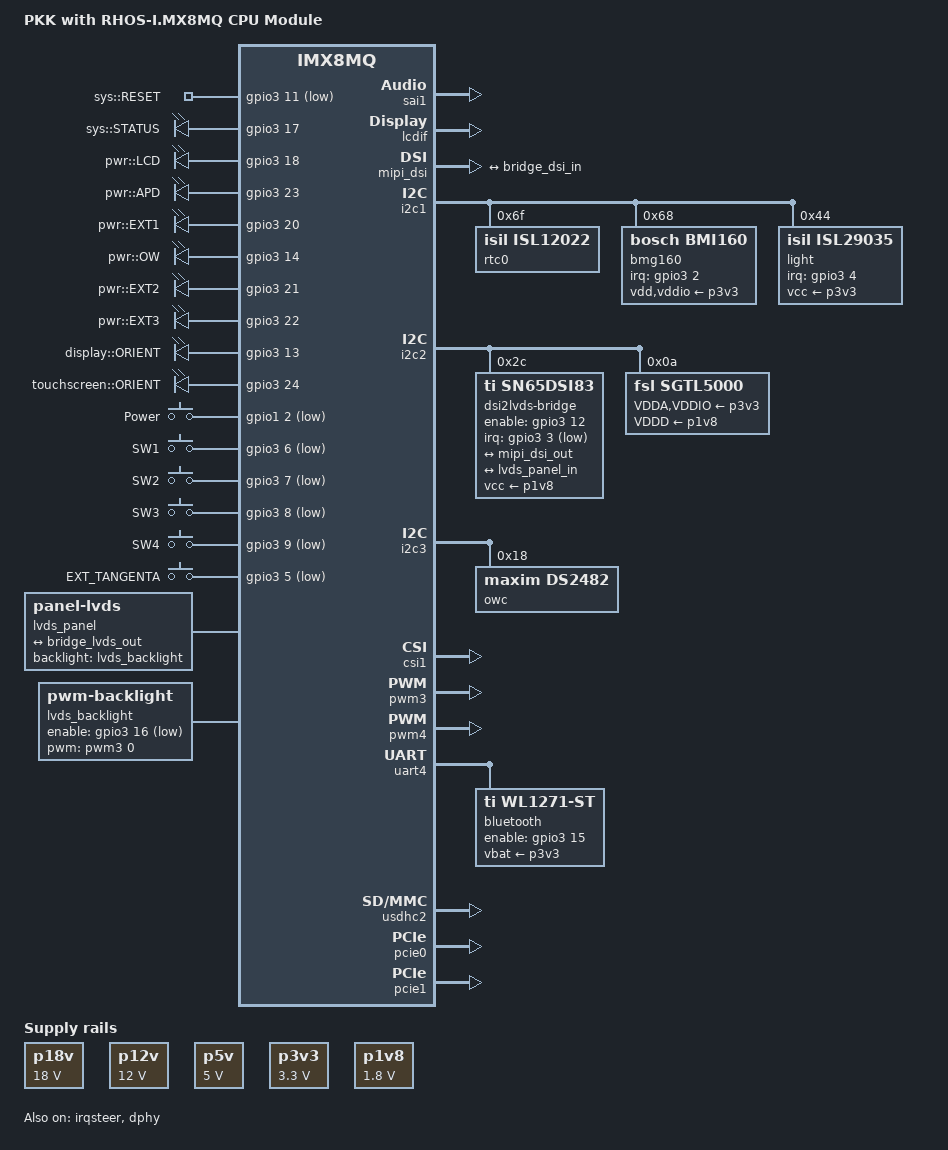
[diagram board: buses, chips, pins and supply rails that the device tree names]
// SPDX-License-Identifier: (GPL-2.0 OR MIT)
/*
 * Copyright (C) 2022 Radioavionica Corp., Alex A. Mihaylov <minimumlaw@rambler.ru>
 */

/dts-v1/;

#include "imx8mq-rhos.dtsi"

/ {
	model = "PKK with RHOS-I.MX8MQ CPU Module";
	compatible = "ravion,pkk", "ravion,imx8mq-rhos", "fsl,imx8mq";

	chosen {
		stdout-path = "serial0:115200n8";
	};

	p18v: regulator-p18v {
		compatible = "regulator-fixed";
		regulator-name = "p18v";
		regulator-min-microvolt = <18000000>;
		regulator-max-microvolt = <18000000>;
		regulator-always-on;
	};

	p12v: regulator-p12v {
		compatible = "regulator-fixed";
		regulator-name = "p12v";
		regulator-min-microvolt = <12000000>;
		regulator-max-microvolt = <12000000>;
		regulator-always-on;
	};

	p5v: regulator-p5v {
		compatible = "regulator-fixed";
		regulator-name = "p5v";
		regulator-min-microvolt = <5000000>;
		regulator-max-microvolt = <5000000>;
		regulator-always-on;
	};

	p3v3: regulator-p3v3 {
		compatible = "regulator-fixed";
		regulator-name = "p3v3";
		regulator-min-microvolt = <3300000>;
		regulator-max-microvolt = <3300000>;
		regulator-always-on;
	};

	p1v8: regulator-p1v8 {
		compatible = "regulator-fixed";
		regulator-name = "p1v8";
		regulator-min-microvolt = <1800000>;
		regulator-max-microvolt = <1800000>;
		regulator-always-on;
	};

	gpio-leds {
		compatible = "gpio-leds";

		sys_rst {
			label = "sys::RESET";
			gpios = <&gpio3 11 GPIO_ACTIVE_LOW>;	/* soDimm165 */
			default-state = "off";
		};

		status {
			label = "sys::STATUS";
			gpios = <&gpio3 17 GPIO_ACTIVE_HIGH>;	/* soDimm164 */
			default-state = "on";
		};

		pwr_lcd {
			label = "pwr::LCD";
			gpios = <&gpio3 18 GPIO_ACTIVE_HIGH>;	/* soDimm166 */
			default-state = "on";
		};

		pwr_apd {
			label = "pwr::APD";
			gpios = <&gpio3 23 GPIO_ACTIVE_HIGH>;	/* soDimm168 */
			default-state = "on";
		};

		pwr_ext1 {
			label = "pwr::EXT1";
			gpios = <&gpio3 20 GPIO_ACTIVE_HIGH>;	/* soDimm170 */
			default-state = "on";
		};

		pwr_ow {
			label = "pwr::OW";
			gpios = <&gpio3 14 GPIO_ACTIVE_HIGH>;	/* soDimm171 */
			default-state = "on";
		};

		pwr_ext2 {
			label = "pwr::EXT2";
			gpios = <&gpio3 21 GPIO_ACTIVE_HIGH>;	/* soDimm172 */
			default-state = "on";
		};

		pwr_ext3 {
			label = "pwr::EXT3";
			gpios = <&gpio3 22 GPIO_ACTIVE_HIGH>;	/* soDimm174 */
			default-state = "on";
		};

		disp_orient {
			label = "display::ORIENT";
			gpios = <&gpio3 13 GPIO_ACTIVE_HIGH>;	/* soDimm169 */
			default-state = "on";
		};

		ts_orient {
			label = "touchscreen::ORIENT";
			gpios = <&gpio3 24 GPIO_ACTIVE_HIGH>;	/* soDimm177 */
			default-state = "on";
		};
	};

	gpio-keys {
		compatible = "gpio-keys";

		power-key {
			label = "Power";
			gpios = <&gpio1 2 GPIO_ACTIVE_LOW>;	/* soDImm139 */
			linux,code = <KEY_POWER>;
			debounce-interval = <50>;
			wakeup-source;
		};

		sw1-key {
			label = "SW1";
			gpios = <&gpio3 6 GPIO_ACTIVE_LOW>;	/* soDimm154 */
			linux,code = <KEY_F1>;
			debounce-interval = <25>;
			wakeup-source;
		};

		sw2-key {
			label = "SW2";
			gpios = <&gpio3 7 GPIO_ACTIVE_LOW>;	/* soDimm156 */
			linux,code = <KEY_F2>;
			debounce-interval = <25>;
			wakeup-source;
		};

		sw3-key {
			label = "SW3";
			gpios = <&gpio3 8 GPIO_ACTIVE_LOW>;	/* soDimm158 */
			linux,code = <KEY_F3>;
			debounce-interval = <25>;
			wakeup-source;
		};

		sw4-key {
			label = "SW4";
			gpios = <&gpio3 9 GPIO_ACTIVE_LOW>;	/* soDimm160 */
			linux,code = <KEY_F4>;
			debounce-interval = <25>;
			wakeup-source;
		};

		ext-tng-key {
			label = "EXT_TANGENTA";
			gpios = <&gpio3 5 GPIO_ACTIVE_LOW>;	/* soDimm152 */
			linux,code = <KEY_F5>;
			debounce-interval = <25>;
			wakeup-source;
		};
	};


	/* Mitsubishi AA070TA01ADA11 LVDS display panel
	 *********************************************/
	lvds_panel {
		compatible = "panel-lvds";
		backlight = <&lvds_backlight>;
		data-mapping = "jeida-24";

		width-mm = <152>;
		height-mm = <91>;

		/*
		 * FixMe: DENA active high, h(f+b+l)=32, v(f+b+l)=30 @ 62.8MHz by spec,
		 *        but NOT work in out module! Fix polarity and recalculate.
		 */
		panel-timing {
			clock-frequency = <67200000>;
			hactive = <1280>;
			vactive = <768>;
			hsync-len = <40>;
			hfront-porch = <40>;
			hback-porch = <40>;
			vfront-porch = <11>;
			vback-porch = <10>;
			vsync-len = <10>;
			de-active = <0>;
		};

		port {
			lvds_panel_in: endpoint {
				remote-endpoint = <&bridge_lvds_out>;
			};
		};
	};

	lvds_backlight: backlight {
		compatible = "pwm-backlight";
		enable-gpios = <&gpio3 16 GPIO_ACTIVE_LOW>;	/* soDimm175 */
		pwms = <&pwm3 0 100000 0>; /* FixMe: frequency !!! */
		brightness-levels = <0 25 51 76 102 127 153 178 204 229 255>;
		default-brightness-level = <8>;
		status = "okay";
	};

	soundcard@0 {
		compatible = "simple-audio-card";
		simple-audio-card,name = "RHOS IMX8MQ SGTL5000";
		simple-audio-card,format = "i2s";
		simple-audio-card,bitclock-master = <&dailink0_master>;
		simple-audio-card,frame-master = <&dailink0_master>;


		simple-audio-card,cpu {
			sound-dai = <&sai1 0>;
		};

		dailink0_master:
		simple-audio-card,codec {
			sound-dai = <&sgtl5000 0>;
		};
	};

};

/* Serial audio interface
 ***********************/
&sai1	{
	status = "okay";
	/* default - any, I2S - 1-st tx/rx, PDM - disabled */
	fst,dataline = <0 0x0F 0x0F 0x01 0x01 0x01 0x02 0x00 0x00>;
	clocks = <&clk IMX8MQ_CLK_SAI1_IPG>,
		<&clk IMX8MQ_CLK_DUMMY>,	/* MCLK floated on SAI side  */
		<&clk IMX8MQ_CLK_DUMMY>,
		<&clk IMX8MQ_CLK_DUMMY>;
	clock-names = "bus", "mclk1", "mclk2", "mclk3";
};

&irqsteer {	status = "okay";	};

&lcdif {	status = "okay";	};

&mipi_dsi {
	status = "okay";
	ports {
		#address-cells = <1>;
		#size-cells = <0>;

		port@1 {
			reg = <1>;
			mipi_dsi_out: endpoint {
				remote-endpoint = <&bridge_dsi_in>;
				clock-lanes = <0>;
				data-lanes = <1 2 3 4>;
			};
		};
	};
};
&dphy {		status = "okay";	};

&i2c1 {
	status = "okay";
	#address-cells = <1>;	#size-cells = <0>;

	rtc0: rtc@6f { /* ISL12020: I2C Real Time Clock (battery backup) */
		compatible = "isil,isl12022";
		reg = <0x6f>;
	};

	bmg160@68 { /* FixMe: address 0x68 already in use by CPU module clock generator */
		compatible = "bosch,bmi160";
		reg = <0x68>;
		vdd-supply = <&p3v3>;
		vddio-supply = <&p3v3>;
		interrupt-parent = <&gpio3>;
		interrupts = <2 (IRQ_TYPE_EDGE_RISING)>;	/* soDimm146 */
		interrupt-names = "INT1";
	};

	light@44 {
		compatible = "isil,isl29035";
		vcc-supply = <&p3v3>;
		reg = <0x44>;
		interrupt-parent = <&gpio3>;
		interrupts = <4 (IRQ_TYPE_EDGE_RISING)>;	/* soDimm150 */
	};
};

&i2c2 {
	dsi2lvds-bridge@2c {
		compatible = "ti,sn65dsi83";
		reg = <0x2c>;
		enable-gpios = <&gpio3 12 GPIO_ACTIVE_HIGH>;	/* soDimm167 */
		irq-gpios = <&gpio3 3 GPIO_ACTIVE_LOW >;	/* soDimm148 <- NOT USED */
		vcc-supply = <&p1v8>;
		status = "okay";

		ports {
			#address-cells = <1>;
			#size-cells = <0>;
			port@0 {
				reg = <0>;
				bridge_dsi_in: endpoint {
					clock-lanes = <0>;
					data-lanes = <1 2 3 4>;
					remote-endpoint = <&mipi_dsi_out>;
				};
			};

			port@2 {
				reg = <2>;
				bridge_lvds_out: endpoint {
					remote-endpoint = <&lvds_panel_in>;
				};
			};
		};
	};

	sgtl5000: codec@a {
		compatible = "fsl,sgtl5000";
		reg = <0xa>;
		#sound-dai-cells = <0>;
		pinctrl-names = "default";
		pinctrl-0 = <&pinctrl_clko1>;
		clocks = <&clk IMX8MQ_CLK_CLKO1>;
		VDDA-supply = <&p3v3>; /* +3.3VA is drosseled +3.3V */
		VDDIO-supply = <&p3v3>;
		VDDD-supply = <&p1v8>;
		status = "okay";
	};
};


&i2c3 {
	owc: ds2482@18 { /* DS2484: I2C to OneWire Converter */
		status = "okay";
		compatible = "maxim,ds2482";
		reg = <0x18>;
	};
};

/* MIPI CSI interface
 *******************/
&csi1 { status = "okay";  };


/* PWMs
 *****/
&pwm3 {		status = "okay";	};
&pwm4 {		status = "okay";	};

/* Bluetooth interface
 ********************/
&uart4 {
	status = "okay";

	bluetooth { /* DD19: CC2564CRVM - XP36 setup, or COM3 connector */
		compatible = "ti,wl1271-st";
		enable-gpios = <&gpio3 15 GPIO_ACTIVE_HIGH>;	/* soDimm173 */
		vbat-supply = <&p3v3>;
		clocks = <&clk_32k_bt 0>;
		clock-names = "ext_clock";
		max-speed = <3686400>;
		current-speed = <115200>;
		status = "okay";

		clk_32k_bt: bt_clk {
			compatible = "fixed-clock";
			#clock-cells = <0>;
			clock-frequency = <32768>;
			clock-accuracy = <100>;
		};
	};
};

/* MicroSD card slot
 ******************/
&usdhc2 {	status = "okay";	};

/* PCIe M.2 slot
 **************/
&pcie0 {	status = "okay";	};

/* PCIe 4x slot
 *************/
&pcie1 {	status = "okay";	};
